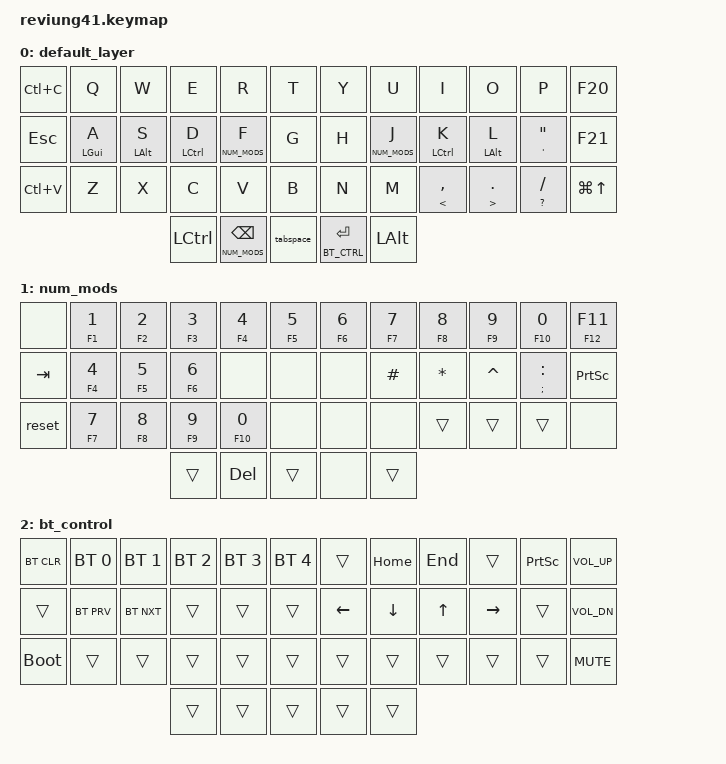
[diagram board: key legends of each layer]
/*
 * Copyright (c) 2020 The ZMK Contributors
 *
 * SPDX-License-Identifier: MIT
 */

#include <behaviors.dtsi>
#include <dt-bindings/zmk/keys.h>
#include <dt-bindings/zmk/bt.h>
#include <dt-bindings/zmk/rgb.h>

#define DEFAULT  0
#define NUM_MODS 1
#define BT_CTRL  2

/ {
    combos {
        compatible = "zmk,combos";
        combo_esc {
            timeout-ms = <50>;
            key-positions = <15 16>; // KP: D F
            bindings = <&kp ESC>;
        };
        combo_tab {
            timeout-ms = <50>;
            key-positions = <19 20>; // KP: J K
            bindings = <&kp TAB>;
        };
        combo_lpar {
            timeout-ms = <50>;
            key-positions = <15 28>; // KP: D V
            bindings = <&kp LPAR>;
        };
        combo_rpar {
            timeout-ms = <50>;
            key-positions = <20 31>; // KP: K M
            bindings = <&kp RPAR>;
        };
        combo_lbkt {
            timeout-ms = <50>;
            key-positions = <14 15>; // KP: S D
            bindings = <&mt LBRC LBKT>;
        };
        combo_rbkt {
            timeout-ms = <50>;
            key-positions = <20 21>; // KP: K L
            bindings = <&mt RBRC RBKT>;
        };
        combo_minus {
            timeout-ms = <50>;
            key-positions = <16 3>; // KP: E F
            bindings = <&mt UNDER MINUS>;
        };
        combo_at {
            timeout-ms = <50>;
            key-positions = <16 19>; // KP: F J
            bindings = <&kp AT>;
        };
        combo_amps {
            timeout-ms = <50>;
            key-positions = <15 20>; // KP: D K
            bindings = <&kp AMPS>;
        };
        combo_EXCL {
            timeout-ms = <50>;
            key-positions = <17 18>; // KP: G H
            bindings = <&kp EXCL>;
        };
        combo_equal {
            timeout-ms = <50>;
            key-positions = <19 8>; // KP: I J
            bindings = <&mt PLUS EQUAL>;
        };
        combo_dollar {
            timeout-ms = <50>;
            key-positions = <3 4>;
            bindings = <&kp DLLR>; // KP: E R
        };
        combo_percent {
            timeout-ms = <50>;
            key-positions = <7 8>; // KP: U I
            bindings = <&kp PRCNT>;
        };
        combo_grave {
            timeout-ms = <50>;
            key-positions = <31 32>; // KP: M ,
            bindings = <&mt TILDE GRAVE>;
        };
        combo_pipe {
            timeout-ms = <50>;
            key-positions = <27 28>; // KP: C V
            bindings = <&mt BSLH PIPE>;
        };
        combo_lbkt2 {
            timeout-ms = <50>;
            key-positions = <15 17>; // KP: D G
            bindings = <&mt LBRC LBKT>;
        };
        combo_rbkt2 {
            timeout-ms = <50>;
            key-positions = <18 20>; // KP: H K
            bindings = <&mt RBRC RBKT>;
        };
        combo_under {
            timeout-ms = <50>;
            key-positions = <4 15>; // KP: R D
            bindings = <&kp UNDER>;
        };
        combo_plus {
            timeout-ms = <50>;
            key-positions = <7 20>; // KP: U K
            bindings = <&kp PLUS>;
        };
        combo_hash {
            timeout-ms = <50>;
            key-positions = <4 19>; // KP: R J
            bindings = <&kp HASH>;
        };
        combo_star {
            timeout-ms = <50>;
            key-positions = <7 16>; // KP: U K
            bindings = <&kp STAR>;
        };
    };

    behaviors {
        hm: homerow_mods {
            compatible = "zmk,behavior-hold-tap";
            label = "HOMEROW_MODS";
            #binding-cells = <2>;
            tapping-term-ms = <250>;
            quick_tap_ms = <0>;
            flavor = "tap-preferred";
            bindings = <&kp>, <&kp>;
        };
        hl: homerow_layers {
            compatible = "zmk,behavior-hold-tap";
            label = "HOMEROW_LAYERS";
            #binding-cells = <2>;
            tapping-term-ms = <150>;
            quick_tap_ms = <100>;
            flavor = "tap-preferred";
            bindings = <&mo>, <&kp>;
        };
        tabspace: tab_space {
            compatible = "zmk,behavior-mod-morph";
            label = "TAB_SPACE";
            #binding-cells = <0>;
            bindings = <&mt LSHIFT SPACE>, <&kp TAB>;
            mods = <(MOD_LALT | MOD_RALT)>;
        };
    };


        keymap {
                compatible = "zmk,keymap";

                default_layer {
// -------------------------------------------------------------------------------------
// |  TAB |  Q  |  W  |  E  |  R  |  T  |   |  Y  |  U   |  I  |  O  |  P  |   BKSP    |
// | CTRL |  A  |  S  |  D  |  F  |  G  |   |  H  |  J   |  K  |  L  |  ;  |    '      |
// | SHFT |  Z  |  X  |  C  |  V  |  B  |   |  N  |  M   |  ,  |  .  |  /  | SHFT(RET) |
//                         | ALT | LWR | SPC | RSE  | ALT |

//                         bindings = <
//    &kp TAB   &kp Q &kp W &kp E &kp R &kp T   &kp Y &kp U  &kp I     &kp O   &kp P    &kp BSPC
//    &kp LCTRL &kp A &kp S &kp D &kp F &kp G   &kp H &kp J  &kp K     &kp L   &kp SEMI &kp SQT
//    &kp LSHFT &kp Z &kp X &kp C &kp V &kp B   &kp N &kp M  &kp COMMA &kp DOT &kp FSLH &mt RSHFT RET
//                         &kp LALT  &mo 1 &kp SPACE &mo 2  &kp RALT
//                         >;
//                 };

            bindings = <
    &kp LC(C)  &kp Q       &kp W       &kp E        &kp R              &kp T             &kp Y     &kp U              &kp I              &kp O           &kp P           &kp F20 // LG(LEFT)
    &kp ESC    &hm LGUI A  &hm LALT S  &hm LCTRL D  &hl NUM_MODS F     &kp G             &kp H     &hl NUM_MODS J     &hm LCTRL K        &hm LALT L      &mt SQT DQT     &kp F21 // LG(RIGHT)
    &kp LC(V)  &kp Z       &kp X       &kp C        &kp V              &kp B             &kp N     &kp M              &mt LT COMMA       &mt GT DOT      &mt QMARK FSLH  &kp LG(UP)
                                         &kp LCTRL &lt NUM_MODS BSPC  &tabspace  &lt BT_CTRL ENTER  &kp LALT
            >;
        };

        num_mods {
// ----------------------------------------------------------------------------------
// |    |  !  |  @  |  #  |  $  |  %  |   |  ^  |  &  |  *  |  (  |  )  |    DEL    |
// |    |  _  |  +  |  {  |  }  | "|" |   | LFT | DWN |  UP | RGT |  `  |     ~     |
// |    | ESC | GUI | ALT | CAPS|  "  |   | HOME| END | PGUP| PGDN| PRSC| SHFT(RET) |
//                       |     |     | RET | ADJ |     |
            bindings = <
    &none     &mt F1 N1   &mt F2 N2   &mt F3 N3    &mt F4 N4      &mt F5 N5     &mt F6 N6    &mt F7 N7    &mt F8 N8    &mt F9 N9    &mt F10 N0      &mt F12 F11
    &kp TAB   &mt F4 N4   &mt F5 N5   &mt F6 N6    &none          &none         &none        &kp HASH     &kp STAR     &kp CARET    &mt SEMI COLON  &kp PSCRN
    &reset    &mt F7 N7   &mt F8 N8   &mt F9 N9    &mt F10 N0     &none         &none        &none        &trans       &trans       &trans          &none
                                  &trans    &kp DEL  &trans     &none          &trans
            >;
        };

        bt_control {
            bindings = <
    &bt BT_CLR   &bt BT_SEL 0   &bt BT_SEL 1   &bt BT_SEL 2 &bt BT_SEL 3 &bt BT_SEL 4 &trans   &kp HOME   &kp END    &trans     &kp PSCRN   &kp C_VOL_UP
    &trans       &bt BT_PRV     &bt BT_NXT     &trans       &trans       &trans       &kp LEFT &kp DOWN   &kp UP     &kp RIGHT  &trans      &kp C_VOL_DN
    &bootloader  &trans         &trans         &trans       &trans       &trans       &trans   &trans     &trans     &trans     &trans      &kp C_MUTE
                                  &trans    &trans   &trans     &trans    &trans
            >;
        };
     };
};
